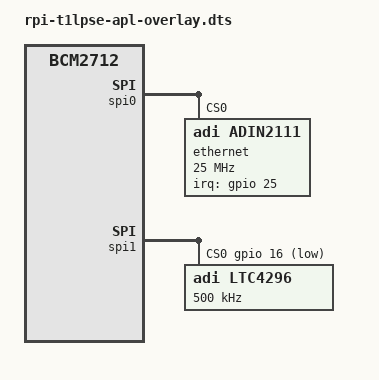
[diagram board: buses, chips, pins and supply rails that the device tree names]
// SPDX-License-Identifier: GPL-2.0
/*
 * Overlay for the LTC4296
 *
 * Copyright 2024 Analog Devices Inc.
 */

/dts-v1/;
/plugin/;

#include <dt-bindings/gpio/gpio.h>
#include <dt-bindings/interrupt-controller/irq.h>
#include <dt-bindings/net/pse-pd/adi,ltc4296.h>

/ {
	compatible = "brcm,bcm2711", "brcm,bcm2712";
};

&spidev0 {
	status = "disabled";
};

&spidev1 {
	status = "disabled";
};

&gpio {
	spi1_pinctrl: spi1_pinctrl {
		brcm,pins = <19 20 21>;
		brcm,function = <3>;
	};

	spi1_cs_pinctrl: spi1_cs_pinctrl {
		brcm,pins = <16>;
		brcm,function = <1>; /* output */
	};
};

&spi0 {
	#address-cells = <1>;
	#size-cells = <0>;
	status = "okay";

	ethernet@0 {
		compatible = "adi,adin2111";
		reg = <0>;
		spi-max-frequency = <25000000>;

		#address-cells = <1>;
		#size-cells = <0>;

		interrupt-parent = <&gpio>;
		interrupts = <25 IRQ_TYPE_LEVEL_LOW>;

		adi,spi-crc;

		phy@0 {
			compatible = "ethernet-phy-id0283.bca1";
			reg = <0x0>;
		};

		phy@1 {
			compatible = "ethernet-phy-id0283.bca1";
			reg = <0x1>;
		};
	};
};

// &spi6_cs_pins {
// 	brcm,pins = <16>;
// 	brcm,function = <1>; /* output */
// };

&spi1 {
	#address-cells = <1>;
	#size-cells = <0>;
	status = "okay";

	pinctrl-names = "default";
	pinctrl-0 = <&spi1_pinctrl>, <&spi1_cs_pinctrl>;
	cs-gpios = <&gpio 16 1>;

	ltc4296: ltc4296@0 {
		compatible = "adi,ltc4296";
		reg = <0>;

		spi-max-frequency = <500000>;

		ports {
			port@2 {
				reg = <0x2>;
				adi,port-type = <LTC4296_PORT_APL>;
				adi,sccpo-gpio = <&gpio 23 GPIO_ACTIVE_HIGH>;
				adi,sccpi-gpio = <&gpio 22 GPIO_ACTIVE_HIGH>;
				adi,hs-resistor = <250>;
			};

			port@3 {
				reg = <0x3>;
				adi,port-type = <LTC4296_PORT_APL>;
				adi,sccpo-gpio = <&gpio 18 GPIO_ACTIVE_HIGH>;
				adi,sccpi-gpio = <&gpio 17 GPIO_ACTIVE_HIGH>;
				adi,hs-resistor = <250>;
			};
		};
	};
};
